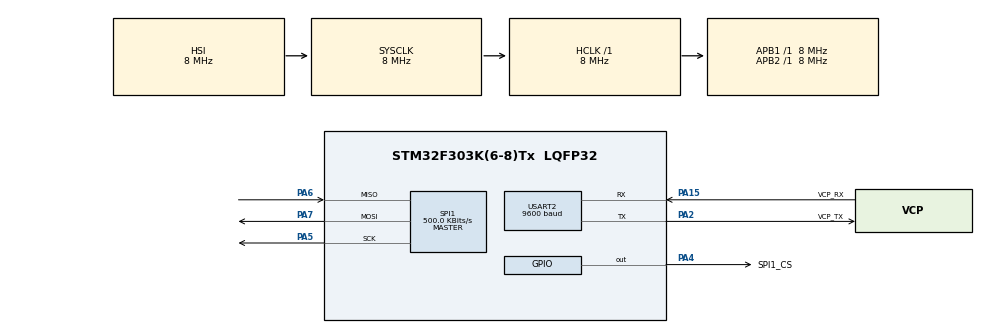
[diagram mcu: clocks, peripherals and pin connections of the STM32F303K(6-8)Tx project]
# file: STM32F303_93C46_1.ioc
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Mcu.Family=STM32F3
Mcu.Name=STM32F303K(6-8)Tx
Mcu.Package=LQFP32
NVIC.PriorityGroup=NVIC_PRIORITYGROUP_4
PA13.GPIO_Label=SWDIO
PA13.Signal=SYS_JTMS-SWDIO
PA14.GPIO_Label=SWCLK
PA14.Signal=SYS_JTCK-SWCLK
PA15.GPIO_Label=VCP_RX
PA15.Mode=Asynchronous
PA15.Signal=USART2_RX
PA2.GPIO_Label=VCP_TX
PA2.Mode=Asynchronous
PA2.Signal=USART2_TX
PA4.GPIO_Label=SPI1_CS
PA4.GPIO_PuPd=GPIO_PULLUP
PA4.GPIO_Speed=GPIO_SPEED_FREQ_HIGH
PA4.PinState=GPIO_PIN_RESET
PA4.Signal=GPIO_Output
PA5.GPIO_PuPd=GPIO_PULLUP
PA5.Mode=Full_Duplex_Master
PA5.Signal=SPI1_SCK
PA6.GPIO_PuPd=GPIO_PULLUP
PA6.Mode=Full_Duplex_Master
PA6.Signal=SPI1_MISO
PA7.GPIO_PuPd=GPIO_PULLUP
PA7.Mode=Full_Duplex_Master
PA7.Signal=SPI1_MOSI
PF0\ /\ OSC_IN.GPIO_Label=MCO
PF0\ /\ OSC_IN.Signal=RCC_OSC_IN
ProjectManager.HeapSize=0x200
ProjectManager.StackSize=0x400
ProjectManager.TargetToolchain=SW4STM32
RCC.AHBFreq_Value=8000000
RCC.APB1Freq_Value=8000000
RCC.APB2Freq_Value=8000000
RCC.CortexFreq_Value=8000000
RCC.HSE_VALUE=8000000
RCC.HSI_VALUE=8000000
RCC.SYSCLKFreq_VALUE=8000000
SPI1.BaudRatePrescaler=SPI_BAUDRATEPRESCALER_16
SPI1.CLKPhase=SPI_PHASE_2EDGE
SPI1.CalculateBaudRate=500.0 KBits/s
SPI1.DataSize=SPI_DATASIZE_8BIT
SPI1.Direction=SPI_DIRECTION_2LINES
SPI1.Mode=SPI_MODE_MASTER
SPI1.VirtualType=VM_MASTER
USART2.BaudRate=9600
USART2.VirtualMode-Asynchronous=VM_ASYNC
USART2.WordLength=WORDLENGTH_8B
board=NUCLEO-F303K8

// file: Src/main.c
/**
  ******************************************************************************
  * File Name          : main.c
  * Description        : Main program body
  ******************************************************************************
  ** This notice applies to any and all portions of this file
  * that are not between comment pairs USER CODE BEGIN and
  * USER CODE END. Other portions of this file, whether
  * inserted by the user or by software development tools
  * are owned by their respective copyright owners.
  *
  * COPYRIGHT(c) 2017 STMicroelectronics
  *
  * Redistribution and use in source and binary forms, with or without modification,
  * are permitted provided that the following conditions are met:
  *   1. Redistributions of source code must retain the above copyright notice,
  *      this list of conditions and the following disclaimer.
  *   2. Redistributions in binary form must reproduce the above copyright notice,
  *      this list of conditions and the following disclaimer in the documentation
  *      and/or other materials provided with the distribution.
  *   3. Neither the name of STMicroelectronics nor the names of its contributors
  *      may be used to endorse or promote products derived from this software
  *      without specific prior written permission.
  *
  * THIS SOFTWARE IS PROVIDED BY THE COPYRIGHT HOLDERS AND CONTRIBUTORS "AS IS"
  * AND ANY EXPRESS OR IMPLIED WARRANTIES, INCLUDING, BUT NOT LIMITED TO, THE
  * IMPLIED WARRANTIES OF MERCHANTABILITY AND FITNESS FOR A PARTICULAR PURPOSE ARE
  * DISCLAIMED. IN NO EVENT SHALL THE COPYRIGHT HOLDER OR CONTRIBUTORS BE LIABLE
  * FOR ANY DIRECT, INDIRECT, INCIDENTAL, SPECIAL, EXEMPLARY, OR CONSEQUENTIAL
  * DAMAGES (INCLUDING, BUT NOT LIMITED TO, PROCUREMENT OF SUBSTITUTE GOODS OR
  * SERVICES; LOSS OF USE, DATA, OR PROFITS; OR BUSINESS INTERRUPTION) HOWEVER
  * CAUSED AND ON ANY THEORY OF LIABILITY, WHETHER IN CONTRACT, STRICT LIABILITY,
  * OR TORT (INCLUDING NEGLIGENCE OR OTHERWISE) ARISING IN ANY WAY OUT OF THE USE
  * OF THIS SOFTWARE, EVEN IF ADVISED OF THE POSSIBILITY OF SUCH DAMAGE.
  *
  ******************************************************************************
  */
#include "main.h"
#include "stm32f3xx_hal.h"
#include "spi.h"
#include "usart.h"
#include "gpio.h"

/* USER CODE BEGIN Includes */
#include "93CXX.h"
/* USER CODE END Includes */

/* USER CODE BEGIN PV */
/* Private variables ---------------------------------------------------------*/

/* USER CODE END PV */

void SystemClock_Config(void);

/* USER CODE BEGIN PFP */
/* Private function prototypes -----------------------------------------------*/

/* USER CODE END PFP */

/* USER CODE BEGIN 0 */

int _write (int fd, char *ptr, int len)
{
  HAL_UART_Transmit(&huart2, (uint8_t*)ptr, len, 1000);
  return len;
}

/* USER CODE END 0 */

int main(void)
{

  /* MCU Configuration----------------------------------------------------------*/

  /* Reset of all peripherals, Initializes the Flash interface and the Systick. */
  HAL_Init();

  /* Configure the system clock */
  SystemClock_Config();

  /* Initialize all configured peripherals */
  HAL_SPI_MspInit(&hspi1);
  MX_GPIO_Init();
  MX_USART2_UART_Init();
  MX_SPI1_Init();

  /* USER CODE BEGIN 2 */
  HAL_GPIO_WritePin(SPI1_CS_GPIO_Port, SPI1_CS_Pin,0);
  HAL_Delay(100);
  printf("\nInitialzed Success!!\n");

  //Write Protect Disable
  MEM_WEN();

  //Get Data
  int8_t gg=MEM_readData(0);
  HAL_Delay(20);
  //Write Data
  MEM_writeData(0,gg+1);
  HAL_Delay(20);
  //Write Data
  MEM_writeData(1,21);
  HAL_Delay(20);
  //Write Data
  MEM_writeData(2,68);
  HAL_Delay(20);

  printf("GET:%d %d %d %d\n",MEM_readData(0),MEM_readData(1),MEM_readData(2),MEM_readData(3));

//  printf("ID:%02x %02x %02x %02x MAC:%02x-%02x-%02x-%02x-%02x-%02x  \n",
//		  MEM_readData(0),MEM_readData(1),MEM_readData(2),MEM_readData(3),MEM_readData(4),
//		  MEM_readData(5),MEM_readData(6),MEM_readData(7),MEM_readData(8),MEM_readData(9));

  /* USER CODE END 2 */

  /* Infinite loop */
  while (1)
  {

  }

}

/** System Clock Configuration
*/
void SystemClock_Config(void)
{

  RCC_OscInitTypeDef RCC_OscInitStruct;
  RCC_ClkInitTypeDef RCC_ClkInitStruct;

    /**Initializes the CPU, AHB and APB busses clocks
    */
  RCC_OscInitStruct.OscillatorType = RCC_OSCILLATORTYPE_HSI;
  RCC_OscInitStruct.HSIState = RCC_HSI_ON;
  RCC_OscInitStruct.HSICalibrationValue = 16;
  RCC_OscInitStruct.PLL.PLLState = RCC_PLL_NONE;
  if (HAL_RCC_OscConfig(&RCC_OscInitStruct) != HAL_OK)
  {
    _Error_Handler(__FILE__, __LINE__);
  }

    /**Initializes the CPU, AHB and APB busses clocks
    */
  RCC_ClkInitStruct.ClockType = RCC_CLOCKTYPE_HCLK|RCC_CLOCKTYPE_SYSCLK
                              |RCC_CLOCKTYPE_PCLK1|RCC_CLOCKTYPE_PCLK2;
  RCC_ClkInitStruct.SYSCLKSource = RCC_SYSCLKSOURCE_HSI;
  RCC_ClkInitStruct.AHBCLKDivider = RCC_SYSCLK_DIV1;
  RCC_ClkInitStruct.APB1CLKDivider = RCC_HCLK_DIV1;
  RCC_ClkInitStruct.APB2CLKDivider = RCC_HCLK_DIV1;

  if (HAL_RCC_ClockConfig(&RCC_ClkInitStruct, FLASH_LATENCY_0) != HAL_OK)
  {
    _Error_Handler(__FILE__, __LINE__);
  }

    /**Configure the Systick interrupt time
    */
  HAL_SYSTICK_Config(HAL_RCC_GetHCLKFreq()/1000);

    /**Configure the Systick
    */
  HAL_SYSTICK_CLKSourceConfig(SYSTICK_CLKSOURCE_HCLK);

  /* SysTick_IRQn interrupt configuration */
  HAL_NVIC_SetPriority(SysTick_IRQn, 0, 0);
}

void _Error_Handler(char * file, int line)
{
  while(1)
  {
  }
}

/************************ (C) COPYRIGHT STMicroelectronics *****END OF FILE****/
